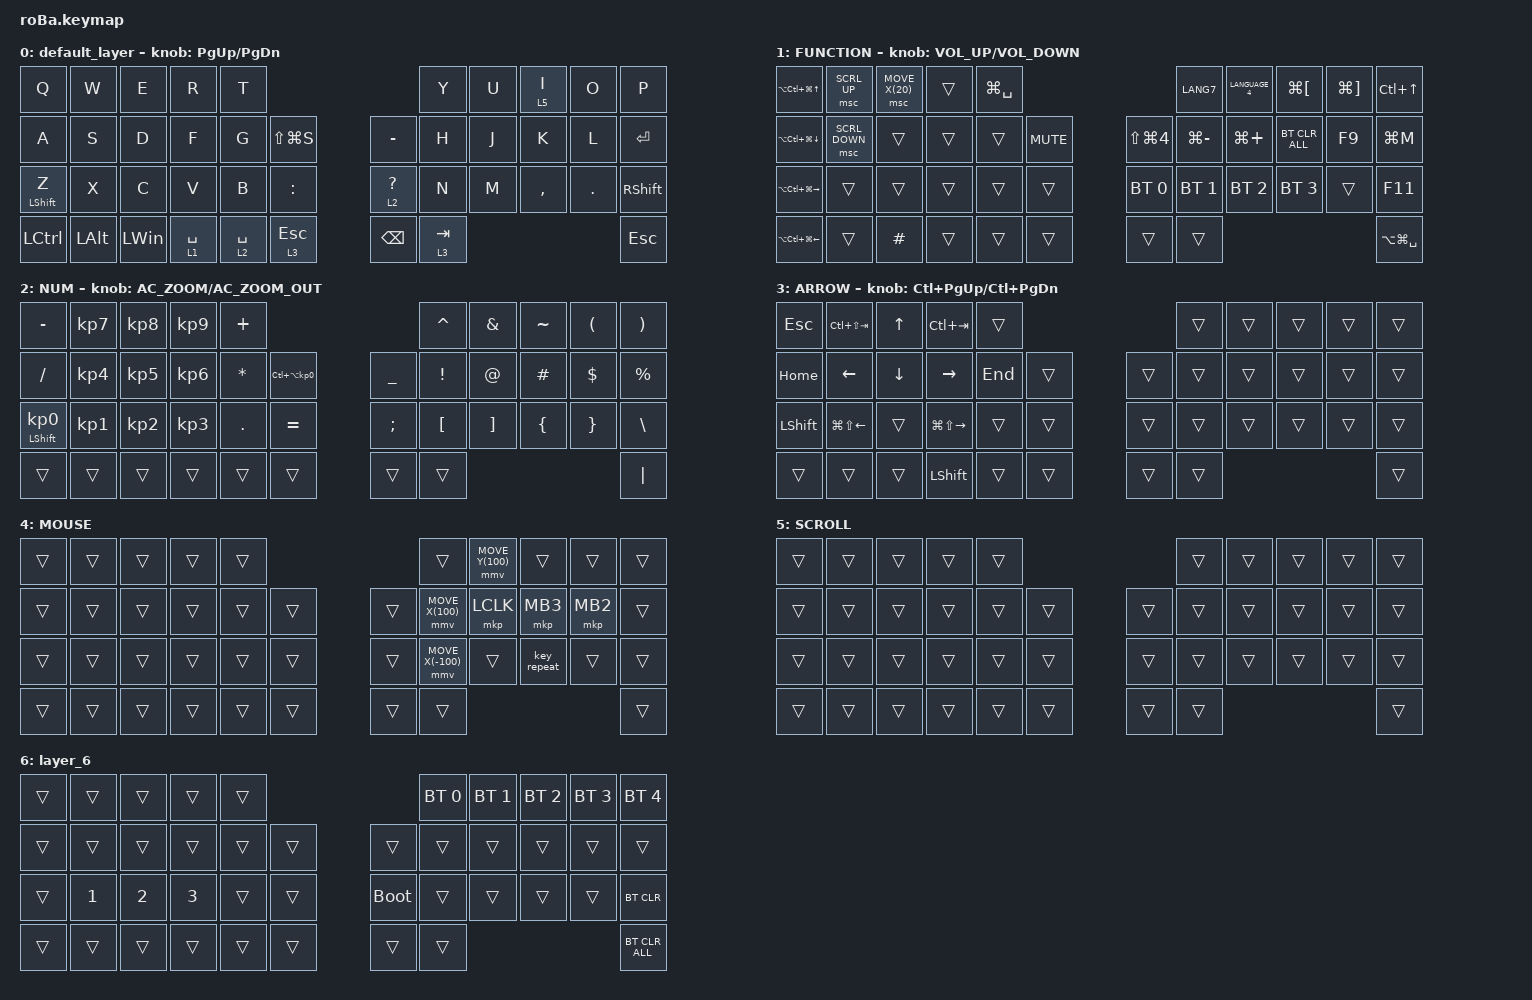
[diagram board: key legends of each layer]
#include <behaviors.dtsi>
#include <dt-bindings/zmk/bt.h>
#include <dt-bindings/zmk/keys.h>
#include <dt-bindings/zmk/pointing.h>

#define MOUSE 4
#define SCROLL 5
#define NUM 6

&mt {
    flavor = "balanced";
    quick-tap-ms = <0>;
};

/ {
    combos {
        compatible = "zmk,combos";

        tab {
            bindings = <&kp TAB>;
            key-positions = <11 12>;
        };

        shift_tab {
            bindings = <&kp LS(TAB)>;
            key-positions = <12 13>;
        };

        muhennkann {
            bindings = <&to_layer_0 INT_MUHENKAN>;
            key-positions = <11 10>;
        };

        double_quotation {
            bindings = <&kp DOUBLE_QUOTES>;
            key-positions = <20 21>;
        };

        eq {
            bindings = <&kp EQUAL>;
            key-positions = <24 25>;
        };
    };

    macros {
        to_layer_0: to_layer_0 {
            compatible = "zmk,behavior-macro-one-param";
            #binding-cells = <1>;
            bindings = <&to 0 &macro_param_1to1 &kp MACRO_PLACEHOLDER>;
            label = "TO_LAYER_0";
        };
    };

    behaviors {
        lt_to_layer_0: lt_to_layer_0 {
            compatible = "zmk,behavior-hold-tap";
            label = "LAYER_TAP_TO_0";
            bindings = <&mo>, <&to_layer_0>;

            #binding-cells = <2>;
            tapping-term-ms = <200>;
        };
    };

    keymap {
        compatible = "zmk,keymap";

        default_layer {
            bindings = <
&kp Q             &kp W         &kp E         &kp R        &kp T                                                     &kp Y      &kp U  &lt 5 I    &kp O    &kp P
&kp A             &kp S         &kp D         &kp F        &kp G        &kp LS(LG(S))                &kp MINUS       &kp H      &kp J  &kp K      &kp L    &kp RET
&mt LEFT_SHIFT Z  &kp X         &kp C         &kp V        &kp B        &kp COLON                    &lt 2 QUESTION  &kp N      &kp M  &kp COMMA  &kp DOT  &kp RIGHT_SHIFT
&kp LCTRL         &kp LEFT_ALT  &kp LEFT_WIN  &lt 1 SPACE  &lt 2 SPACE  &lt_to_layer_0 3 ESCAPE      &kp BACKSPACE   &lt 3 TAB                             &kp ESCAPE
            >;

            sensor-bindings = <&inc_dec_kp PG_UP PAGE_DOWN>;
        };

        FUNCTION {
            bindings = <
&kp LA(LC(LG(UP_ARROW)))     &msc SCRL_UP    &msc MOVE_X(20)  &trans  &kp LG(SPACE)                                        &kp LANG7      &kp LANGUAGE_4  &kp LG(LEFT_BRACKET)  &kp LG(RIGHT_BRACKET)  &kp LC(UP_ARROW)
&kp LA(LC(LG(DOWN_ARROW)))   &msc SCRL_DOWN  &trans           &trans  &trans         &kp C_MUTE      &kp LS(LG(NUMBER_4))  &kp LG(MINUS)  &kp LG(PLUS)    &bt BT_CLR_ALL        &kp F9                 &kp LG(M)
&kp LA(LC(LG(RIGHT_ARROW)))  &trans          &trans           &trans  &trans         &trans          &bt BT_SEL 0          &bt BT_SEL 1   &bt BT_SEL 2    &bt BT_SEL 3          &trans                 &kp F11
&kp LA(LC(LG(LEFT_ARROW)))   &trans          &kp HASH         &trans  &trans         &trans          &trans                &trans                                                                      &kp LA(LG(SPACE))
            >;

            sensor-bindings = <&inc_dec_kp C_VOLUME_UP C_VOLUME_DOWN>;
        };

        NUM {
            bindings = <
&kp MINUS                   &kp KP_NUMBER_7  &kp KP_NUMBER_8  &kp KP_NUMBER_9  &kp PLUS                                                   &kp CARET         &kp AMPERSAND      &kp TILDE       &kp LEFT_PARENTHESIS  &kp RIGHT_PARENTHESIS
&kp SLASH                   &kp KP_NUMBER_4  &kp KP_NUMBER_5  &kp KP_NUMBER_6  &kp ASTERISK  &kp LC(LA(KP_NUMBER_0))      &kp UNDERSCORE  &kp EXCLAMATION   &kp AT_SIGN        &kp HASH        &kp DOLLAR            &kp PERCENT
&mt LEFT_SHIFT KP_NUMBER_0  &kp KP_NUMBER_1  &kp KP_NUMBER_2  &kp KP_NUMBER_3  &kp PERIOD    &kp EQUAL                    &kp SEMICOLON   &kp LEFT_BRACKET  &kp RIGHT_BRACKET  &kp LEFT_BRACE  &kp RIGHT_BRACE       &kp BACKSLASH
&trans                      &trans           &trans           &trans           &trans        &trans                       &trans          &trans                                                                     &kp PIPE
            >;

            sensor-bindings = <&inc_dec_kp C_AC_ZOOM C_AC_ZOOM_OUT>;
        };

        ARROW {
            bindings = <
&kp ESCAPE      &kp LC(LS(TAB))         &kp UP_ARROW    &kp LC(TAB)              &trans                       &trans  &trans  &trans  &trans  &trans
&kp HOME        &kp LEFT_ARROW          &kp DOWN_ARROW  &kp RIGHT_ARROW          &kp END  &trans      &trans  &trans  &trans  &trans  &trans  &trans
&kp LEFT_SHIFT  &kp LG(LS(LEFT_ARROW))  &trans          &kp LG(LS(RIGHT_ARROW))  &trans   &trans      &trans  &trans  &trans  &trans  &trans  &trans
&trans          &trans                  &trans          &kp LEFT_SHIFT           &trans   &trans      &trans  &trans                          &trans
            >;

            sensor-bindings = <&inc_dec_kp LC(PAGE_UP) LC(PAGE_DOWN)>;
        };

        MOUSE {
            bindings = <
&trans  &trans  &trans  &trans  &trans                      &trans             &mmv MOVE_Y(100)  &trans       &trans    &trans
&trans  &trans  &trans  &trans  &trans  &trans      &trans  &mmv MOVE_X(100)   &mkp LCLK         &mkp MB3     &mkp MB2  &trans
&trans  &trans  &trans  &trans  &trans  &trans      &trans  &mmv MOVE_X(-100)  &trans            &key_repeat  &trans    &trans
&trans  &trans  &trans  &trans  &trans  &trans      &trans  &trans                                                      &trans
            >;
        };

        SCROLL {
            bindings = <
&trans  &trans  &trans  &trans  &trans                      &trans  &trans  &trans  &trans  &trans
&trans  &trans  &trans  &trans  &trans  &trans      &trans  &trans  &trans  &trans  &trans  &trans
&trans  &trans  &trans  &trans  &trans  &trans      &trans  &trans  &trans  &trans  &trans  &trans
&trans  &trans  &trans  &trans  &trans  &trans      &trans  &trans                          &trans
            >;
        };

        layer_6 {
            bindings = <
&trans  &trans        &trans        &trans        &trans                           &bt BT_SEL 0  &bt BT_SEL 1  &bt BT_SEL 2  &bt BT_SEL 3  &bt BT_SEL 4
&trans  &trans        &trans        &trans        &trans  &trans      &trans       &trans        &trans        &trans        &trans        &trans
&trans  &kp NUMBER_1  &kp NUMBER_2  &kp NUMBER_3  &trans  &trans      &bootloader  &trans        &trans        &trans        &trans        &bt BT_CLR
&trans  &trans        &trans        &trans        &trans  &trans      &trans       &trans                                                  &bt BT_CLR_ALL
            >;
        };
    };
};
